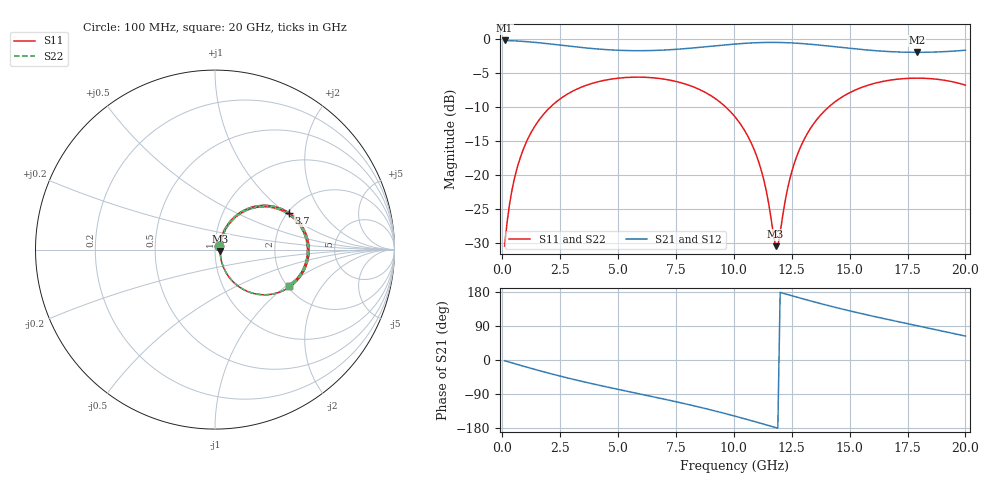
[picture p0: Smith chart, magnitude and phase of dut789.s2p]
! Touchstone file exported from HFSS 2026.1.0
!  File:  C:/ffzhzh/LocalFiles/Ansys_Project_Files/temp_train_TSV_RDL_789_1783260895_5512.aedt
!  Generated:  10:28:10 PM Jul  5, 2026
!  Design:  TSV_RDL
!  Project:  temp_train_TSV_RDL_789_1783260895_5512
! Variables:
!  h_bsmrdl = 4.28um
!  h_ox = 20um
!  h_rdl = 5um
!  h_sub = 57.07um
!  h_tmrdl = 4.82um
!  h_tsv = 57.07um
!  h_via = 3um
!  l_bsmrdl = 880.46um
!  l_sub = 5328.12um
!  l_tmrdl = 546.65um
!  m_sub = 200um
!  pitch = 39.76um
!  r_tsv = 9.73um
!  s_tmrdl = 10um
!  w_bsmrdl = 15.73um
!  w_sub = 500um
!  w_tmrdl = 17.65um
!  x_tsv_center1 = 555.475um
!  x_tsv_center2 = 1451.665um
!  x_tsv_center3 = 2015.965um
!  x_tsv_center4 = 2912.155um
!  x_tsv_center5 = 3476.455um
!  x_tsv_center6 = 4372.645um
# GHz S MA R 50.000000
! Terminal data exported
! Port[1] = TM_RDL1_1_T1
! Port[2] = TM_RDL5_1_T1
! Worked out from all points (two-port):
!   200 points, 100 MHz to 20 GHz, reference 50 ohm
!   highest |S21| = -0.21 dB at 100 MHz (marker M1); lowest = -2.0 dB at 17.9 GHz (marker M2)
!   |S21| within 3 dB of the highest: start of sweep to end of sweep
!   lowest |S11| = -30.5 dB at 11.8 GHz (marker M3), VSWR 1.06, Z = 53 - j0.849 ohm
!   |S11| at or under -10 dB: start of sweep to 2.082 GHz; 9.645 GHz to 14.1 GHz (4.454 GHz wide, 37.5 % of centre)
!   |S22| runs from -30.5 to -5.6 dB; largest |S21 - S12| = 1.7e-14
!   S11 on the Smith chart (normalised r, x): 100 MHz: 1.05, +0.04; 3.7 GHz: 2.04, +1.06; 20 GHz: 2.04, -1.04
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0.1  0.02993 35.8  0.9762 -1.9  0.9762 -1.9  0.02993 35.8
! Gamma 0 0 0 0
! Port Impedance 50 0 50 0
0.3  0.05879 58.9  0.9732 -5.5  0.9732 -5.5  0.05879 58.9
0.5  0.0902 63.8  0.9698 -9.1  0.9698 -9.1  0.0902 63.8
1.1  0.1834 61.6  0.9552 -19.6  0.9552 -19.6  0.1834 61.6
2.1  0.3184 48.5  0.9186 -36.3  0.9186 -36.3  0.3184 48.5
3.5  0.448 29.1  0.8636 -57.3  0.8636 -57.3  0.448 29.1
3.7  0.461 26.4  0.8569 -60.1  0.8569 -60.1  0.4609 26.4
5.3  0.5203 6.1  0.8231 -81.4  0.8231 -81.4  0.5203 6.1
6.8  0.512 -12.4  0.8268 -100.7  0.8268 -100.7  0.512 -12.3
8.6  0.4183 -35.5  0.8707 -125.6  0.8707 -125.6  0.4183 -35.5
10.1  0.2608 -55.8  0.9199 -149.0  0.9199 -149.0  0.2609 -55.6
11.1  0.1205 -64.7  0.9412 -165.9  0.9412 -165.9  0.1206 -64.4
11.4  0.07632 -61.4  0.9439 -171.2  0.9439 -171.2  0.07652 -61.0
11.8  0.02982 -15.6  0.9443 -178.2  0.9443 -178.2  0.03043 -15.2
11.9  0.02984 13.4  0.9438 -179.9  0.9438 -179.9  0.03047 13.1
12.3  0.07611 59.0  0.9397 173.1  0.9397 173.1  0.0764 58.6
12.6  0.1198 62.3  0.9343 167.9  0.9343 167.9  0.12 62.0
13.4  0.2317 56.1  0.9123 154.5  0.9123 154.5  0.2318 55.9
14.8  0.3855 37.9  0.8616 132.6  0.8616 132.6  0.3856 37.8
16.7  0.4966 13.9  0.8084 106.3  0.8084 106.3  0.4966 13.8
17.9  0.5153 -0.5  0.798 90.8  0.798 90.8  0.5153 -0.6
20  0.4575 -26.0  0.827 63.0  0.827 63.0  0.4574 -26.1
